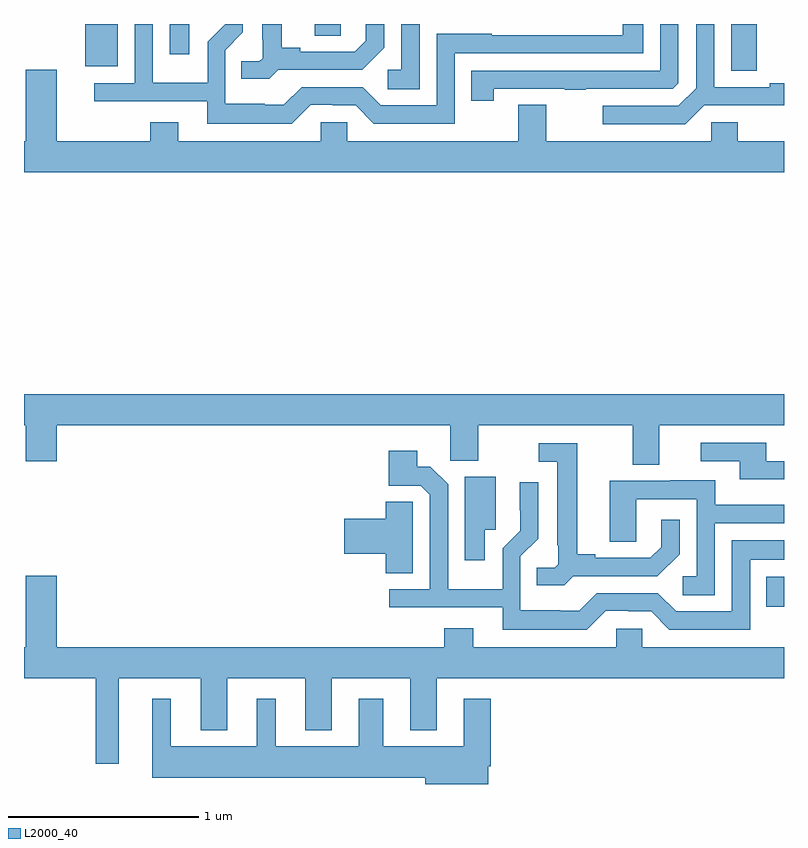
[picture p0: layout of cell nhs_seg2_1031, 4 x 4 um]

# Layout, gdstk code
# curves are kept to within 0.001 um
import gdstk
lib = gdstk.Library(unit=1e-6, precision=1e-09)
def R(c, l, rs):  # rectangles x0, y0, x1, y1
    for r in rs: c.add(gdstk.rectangle(r[:2], r[2:], *l))
def P(c, l, *ps):  # polygons
    for p in ps: c.add(gdstk.Polygon(p, *l))
L2000_40 = (2000, 40)

nhs_seg2_1031 = lib.new_cell('nhs_seg2_1031')
R(nhs_seg2_1031, L2000_40, [(168.907,594.732,169,594.891), (168.722,597.553,168.856,597.8), (165.323,597.578,165.493,597.8), (165.767,597.642,165.871,597.8), (166.529,597.739,166.668,597.8)])
P(nhs_seg2_1031, L2000_40, [(166.509,597.375),(166.626,597.375),(166.626,597.372),(166.746,597.372),(166.842,597.276),(167.268,597.276),(167.268,597.645),(168.258,597.645),(168.258,597.8),(168.15,597.8),(168.15,597.742),(167.463,597.741),(167.463,597.748),(167.172,597.748),(167.172,597.372),(166.878,597.372),(166.782,597.468),(166.461,597.468),(166.368,597.375),(166.268,597.375),(166.268,597.379),(166.059,597.379),(166.059,597.663),(166.152,597.756),(166.152,597.8),(166.058,597.8),(166.058,597.798),(165.966,597.706),(165.966,597.49),(165.678,597.49),(165.678,597.8),(165.582,597.8),(165.582,597.489),(165.369,597.489),(165.369,597.393),(165.965,597.393),(165.965,597.275),(166.409,597.275)],
  [(166.338,597.558),(166.78,597.558),(166.896,597.674),(166.896,597.8),(166.799,597.8),(166.799,597.711),(166.742,597.654),(166.453,597.654),(166.453,597.674),(166.357,597.674),(166.357,597.8),(166.253,597.8),(166.253,597.721),(166.257,597.721),(166.257,597.621),(166.239,597.603),(166.144,597.603),(166.144,597.511),(166.29,597.511)],
  [(167.082,597.8),(166.986,597.8),(166.986,597.558),(166.914,597.558),(166.914,597.457),(167.082,597.457)],
  [(167.472,597.459),(167.845,597.459),(167.845,597.454),(167.957,597.454),(167.957,597.459),(168.414,597.459),(168.444,597.489),(168.444,597.8),(168.348,597.8),(168.348,597.555),(167.353,597.555),(167.353,597.396),(167.472,597.396)],
  [(168.58,597.372),(169,597.372),(169,597.488),(168.926,597.488),(168.926,597.468),(168.633,597.468),(168.633,597.8),(168.537,597.8),(168.537,597.462),(168.444,597.369),(168.045,597.369),(168.045,597.273),(168.481,597.273)],
  [(165.008,597.559),(165.008,597.184),(165,597.184),(165,597.02),(169,597.02),(169,597.184),(168.757,597.184),(168.757,597.282),(168.618,597.282),(168.618,597.184),(167.749,597.184),(167.749,597.374),(167.602,597.374),(167.602,597.184),(166.701,597.184),(166.701,597.282),(166.563,597.282),(166.563,597.184),(165.811,597.184),(165.811,597.283),(165.664,597.283),(165.664,597.184),(165.172,597.184),(165.172,597.559)],
  [(168.343,595.688),(169,595.688),(169,595.852),(165,595.852),(165,595.688),(165.008,595.688),(165.008,595.5),(165.172,595.5),(165.172,595.688),(167.244,595.688),(167.244,595.501),(167.391,595.501),(167.391,595.688),(168.203,595.688),(168.203,595.48),(168.343,595.48)],
  [(169,595.5),(168.907,595.5),(168.907,595.596),(168.561,595.596),(168.561,595.5),(168.767,595.5),(168.767,595.403),(169,595.403)],
  [(167.892,594.894),(168.334,594.894),(168.45,595.01),(168.45,595.192),(168.353,595.192),(168.353,595.047),(168.296,594.99),(168.007,594.99),(168.007,595.01),(167.911,595.01),(167.911,595.593),(167.709,595.593),(167.709,595.497),(167.807,595.497),(167.807,595.057),(167.811,595.057),(167.811,594.957),(167.793,594.939),(167.698,594.939),(167.698,594.847),(167.844,594.847)],
  [(168.063,594.711),(168.18,594.711),(168.18,594.708),(168.3,594.708),(168.396,594.612),(168.822,594.612),(168.822,594.981),(169,594.981),(169,595.084),(168.726,595.084),(168.726,594.708),(168.432,594.708),(168.336,594.804),(168.015,594.804),(167.922,594.711),(167.822,594.711),(167.822,594.715),(167.613,594.715),(167.613,594.999),(167.706,595.092),(167.706,595.387),(167.61,595.387),(167.61,595.24),(167.612,595.24),(167.612,595.134),(167.52,595.042),(167.52,594.826),(167.232,594.826),(167.232,595.377),(167.139,595.47),(167.071,595.47),(167.071,595.555),(166.919,595.555),(166.919,595.371),(167.088,595.371),(167.136,595.323),(167.136,594.825),(166.923,594.825),(166.923,594.729),(167.519,594.729),(167.519,594.611),(167.963,594.611)],
  [(167.425,595.137),(167.482,595.137),(167.482,595.416),(167.321,595.416),(167.321,594.978),(167.425,594.978)],
  [(168.636,595.173),(169,595.173),(169,595.27),(168.637,595.27),(168.637,595.399),(168.401,595.399),(168.401,595.395),(168.083,595.395),(168.083,595.075),(168.222,595.075),(168.222,595.299),(168.54,595.299),(168.54,594.894),(168.468,594.894),(168.468,594.793),(168.636,594.793)],
  [(167.047,595.178),(167.046,595.178),(167.046,595.286),(166.904,595.286),(166.904,595.196),(166.686,595.196),(166.686,595.013),(166.904,595.013),(166.904,594.91),(167.047,594.91)],
  [(165.499,594.356),(165.929,594.356),(165.929,594.083),(166.069,594.083),(166.069,594.356),(166.481,594.356),(166.481,594.083),(166.621,594.083),(166.621,594.356),(167.033,594.356),(167.033,594.083),(167.173,594.083),(167.173,594.356),(169,594.356),(169,594.52),(168.255,594.52),(168.255,594.618),(168.117,594.618),(168.117,594.52),(167.365,594.52),(167.365,594.619),(167.213,594.619),(167.213,594.52),(165.172,594.52),(165.172,594.895),(165.008,594.895),(165.008,594.52),(165,594.52),(165,594.356),(165.378,594.356),(165.378,593.907),(165.499,593.907)],
  [(167.443,593.894),(167.456,593.894),(167.456,594.25),(167.315,594.25),(167.315,593.998),(166.891,593.998),(166.891,594.25),(166.763,594.25),(166.763,593.998),(166.324,593.998),(166.324,594.25),(166.226,594.25),(166.226,593.998),(165.772,593.998),(165.772,594.25),(165.674,594.25),(165.674,593.834),(167.111,593.834),(167.111,593.8),(167.443,593.8)])

lib.write_gds('nhs_seg2_1031.gds')
